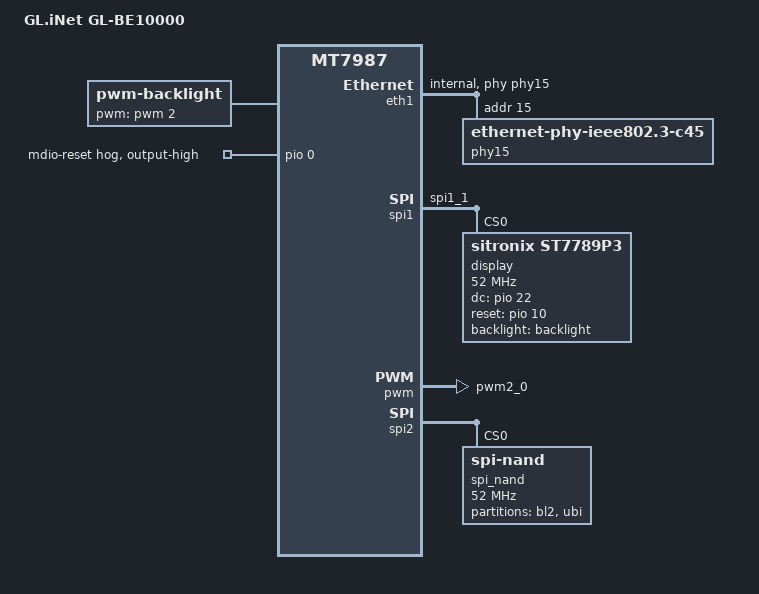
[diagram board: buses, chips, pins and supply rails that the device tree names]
// SPDX-License-Identifier: GPL-2.0
/*
 * Copyright (c) 2026 GL.iNet
 */

#include "mt7987a-u-boot.dtsi"
#include "mt7987-netsys-u-boot.dtsi"

/ {
	model = "GL.iNet GL-BE10000";
	compatible = "glinet,gl-be10000",
		     "mediatek,mt7987";
};

/*
 * LAN port, and the one to use. gmac1 drives the SoC built-in 2.5G PHY, which
 * mtk-2p5ge supports on MT7987. Its firmware is linked into U-Boot by
 * board/mediatek/mt7987/i2p5ge_fw.c, so it needs no storage and works before
 * any UBI exists.
 */
&eth1 {
	status = "okay";
	pinctrl-names = "default";
	pinctrl-0 = <&mdio0_pins>;
	phy-mode = "internal";
	phy-handle = <&phy15>;

	phy15: eth-phy@15 {
		compatible = "ethernet-phy-ieee802.3-c45";
		reg = <15>;
	};
};

/* bootph-all throughout: the framebuffer is reserved before relocation */
&spi1 {
	pinctrl-names = "default";
	pinctrl-0 = <&spi1_pins>;
	#address-cells = <1>;
	#size-cells = <0>;
	status = "okay";
	bootph-all;
	must_tx;
	enhance_timing;
	dma_ext;
	ipm_design;
	support_quad;
	tick_dly = <2>;
	sample_sel = <0>;

	display@0 {
		compatible = "sitronix,st7789p3";
		reg = <0>;
		spi-max-frequency = <52000000>;
		spi-cpol;
		spi-cpha;
		bootph-all;

		/* BL2 drew the splash and left the controller running */
		skip-init;

		rotation = <270>;

		dc-gpios = <&pio 22 GPIO_ACTIVE_HIGH>;
		reset-gpios = <&pio 10 GPIO_ACTIVE_HIGH>;
		backlight = <&backlight>;
	};
};

&pwm {
	pinctrl-names = "default";
	pinctrl-0 = <&pwm2_pins>;
	status = "okay";
	bootph-all;
};

/ {
	backlight: backlight {
		compatible = "pwm-backlight";
		pwms = <&pwm 2 50000>;
		brightness-levels = <0 16 32 48 64 80 96 112 128 144 160 176 192 208 224 255>;
		default-brightness-level = <12>;
		bootph-all;
	};
};

/*
 * pio 0 is the MDIO bus reset, active low. mtk_eth only releases it on the
 * switch code path, which this board does not take, so hog it high.
 */
&pio {
	bootph-all;

	spi1_pins: spi1-pins {
		mux {
			function = "spi";
			groups = "spi1_1";
		};
	};

	pwm2_pins: pwm2-pins {
		mux {
			function = "pwm";
			groups = "pwm2_0";
		};
	};

	mdio-reset-hog {
		gpio-hog;
		gpios = <0 GPIO_ACTIVE_HIGH>;
		output-high;
		line-name = "mdio-reset";
	};
};

&spi2 {
	pinctrl-names = "default";
	pinctrl-0 = <&spi2_flash_pins>;
	#address-cells = <1>;
	#size-cells = <0>;
	status = "okay";
	must_tx;
	enhance_timing;
	dma_ext;
	ipm_design;
	support_quad;
	tick_dly = <2>;
	sample_sel = <0>;

	spi_nand@0 {
		compatible = "spi-nand";
		reg = <0>;
		spi-max-frequency = <52000000>;
		spi-rx-bus-width = <4>;
		spi-tx-bus-width = <4>;

		partitions {
			compatible = "fixed-partitions";
			#address-cells = <1>;
			#size-cells = <1>;

			partition@0 {
				label = "bl2";
				reg = <0x0 0x200000>;
			};

			partition@200000 {
				label = "ubi";
				reg = <0x200000 0x1fe00000>;
				compatible = "linux,ubi";
			};
		};
	};
};
